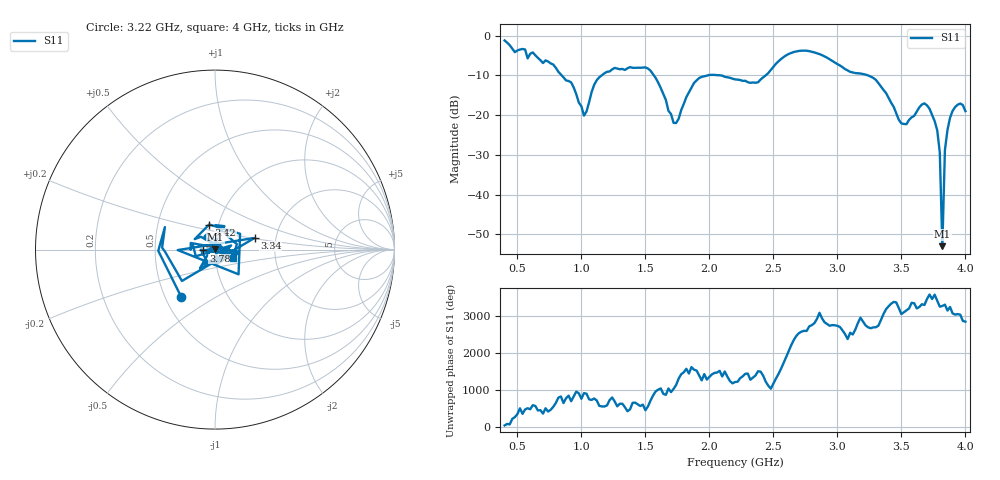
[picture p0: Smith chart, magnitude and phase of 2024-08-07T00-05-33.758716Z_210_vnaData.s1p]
!Created with skrf (http://scikit-rf.org).
# Hz S RI R 50.0
!freq ReS11 ImS11
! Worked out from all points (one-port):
!   181 points, 400 MHz to 4 GHz, reference 50 ohm
!   lowest |S11| = -52.9 dB at 3.82 GHz (marker M1), VSWR 1.00, Z = 50.2 + j0.149 ohm
!   |S11| at or under -10 dB: 1.567 GHz to 1.986 GHz (419.2 MHz wide, 23.6 % of centre); 2.09 GHz to 2.439 GHz (349.7 MHz wide, 15.4 % of centre); 3.24 GHz to end of sweep (the widest 3 of 4)
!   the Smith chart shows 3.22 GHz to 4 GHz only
!   S11 on the Smith chart (normalised r, x): 3.22 GHz: 0.60, -0.36; 3.34 GHz: 1.55, +0.21; 3.42 GHz: 0.90, +0.26; 3.78 GHz: 0.88, -0.01; 4 GHz: 1.22, -0.12
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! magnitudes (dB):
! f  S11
! 400 MHz  -1.2
! 860 MHz  -10.5
! 920 MHz  -11.8
! 1.02 GHz  -20.1
! 1.12 GHz  -11.2
! 1.3 GHz  -8.4
! 1.54 GHz  -8.8
! 1.72 GHz  -21.9
! 1.76 GHz  -20.9
! 1.92 GHz  -10.7
! 2.2 GHz  -11.0
! 2.38 GHz  -11.7
! 2.66 GHz  -4.1
! 2.86 GHz  -4.6
! 3.1 GHz  -9.1
! 3.22 GHz  -9.8
! 3.34 GHz  -12.8
! 3.42 GHz  -16.9
! 3.5 GHz  -22.1
! 3.56 GHz  -21.2
! 3.68 GHz  -17.0
! 3.78 GHz  -23.8
! 3.8 GHz  -29.4
! 3.82 GHz  -52.9
! 3.84 GHz  -28.8
! 3.86 GHz  -23.7
! 3.92 GHz  -17.9
! 4 GHz  -19.0
